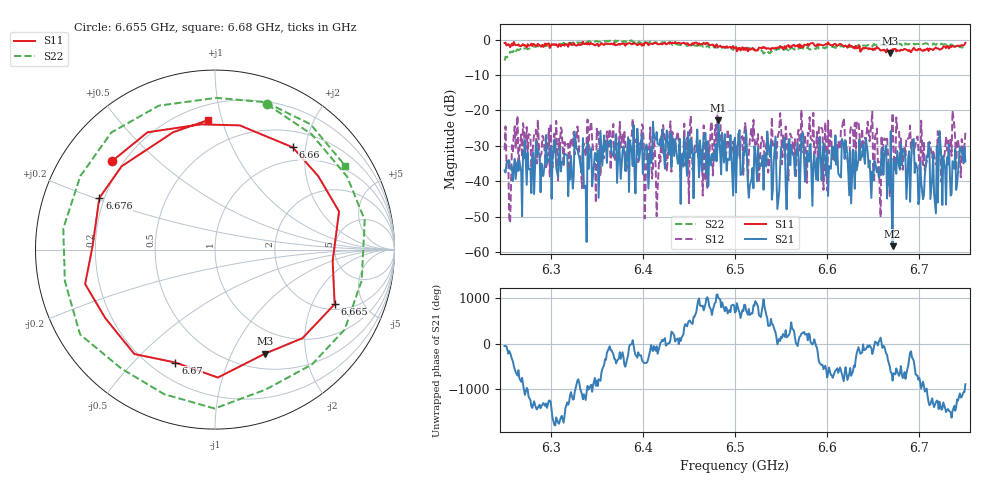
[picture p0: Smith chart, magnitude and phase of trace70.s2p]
# Hz S RI R 50
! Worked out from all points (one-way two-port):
!   401 points, 6.25 GHz to 6.75 GHz, reference 50 ohm
!   highest |S21| = -22.83 dB at 6.482 GHz (marker M1); lowest = -58.4 dB at 6.671 GHz (marker M2)
!   lowest |S11| = -3.8 dB at 6.668 GHz (marker M3), VSWR 4.60, Z = 34.2 - j67.7 ohm
!   |S11| at or under -10 dB: nowhere
!   |S22| runs from -5.9 to -0.2 dB; largest |S21 - S12| = 0.15
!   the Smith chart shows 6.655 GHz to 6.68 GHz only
!   S11 on the Smith chart (normalised r, x): 6.655 GHz: 0.16, +0.36; 6.66 GHz: 0.76, +1.76; 6.665 GHz: 2.27, -2.99; 6.67 GHz: 0.29, -0.67; 6.676 GHz: 0.18, +0.21; 6.68 GHz: 0.30, +0.90
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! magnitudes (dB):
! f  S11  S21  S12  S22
! 6.25 GHz  -0.9  -37.0  -31.1  -5.9
! 6.255 GHz  -1.4  -34.1  -50.5  -4.3
! 6.261 GHz  -1.4  -33.7  -24.5  -2.7
! 6.334 GHz  -1.3  -38.0  -41.9  -0.9
! 6.399 GHz  -1.7  -26.6  -23.9  -0.9
! 6.418 GHz  -1.3  -29.8  -32.5  -0.8
! 6.482 GHz  -2.0  -22.8  -24.0  -2.2
! 6.5 GHz  -2.2  -27.7  -28.9  -2.2
! 6.584 GHz  -1.0  -47.0  -28.6  -2.5
! 6.646 GHz  -2.5  -34.1  -28.7  -1.9
! 6.655 GHz  -2.4  -36.1  -34.7  -1.3
! 6.66 GHz  -2.9  -30.6  -35.3  -1.6
! 6.665 GHz  -2.7  -44.9  -27.4  -1.1
! 6.668 GHz  -3.8  -42.4  -44.4  -1.5
! 6.67 GHz  -3.5  -47.5  -26.8  -1.4
! 6.671 GHz  -2.7  -58.4  -20.7  -1.4
! 6.676 GHz  -3.0  -31.4  -25.2  -1.5
! 6.68 GHz  -2.8  -29.4  -28.0  -1.3
! 6.701 GHz  -2.6  -34.8  -41.0  -1.2
! 6.709 GHz  -2.5  -33.2  -32.7  -1.1
! 6.715 GHz  -2.9  -32.4  -31.2  -1.2
! 6.75 GHz  -0.9  -34.4  -26.3  -1.9
